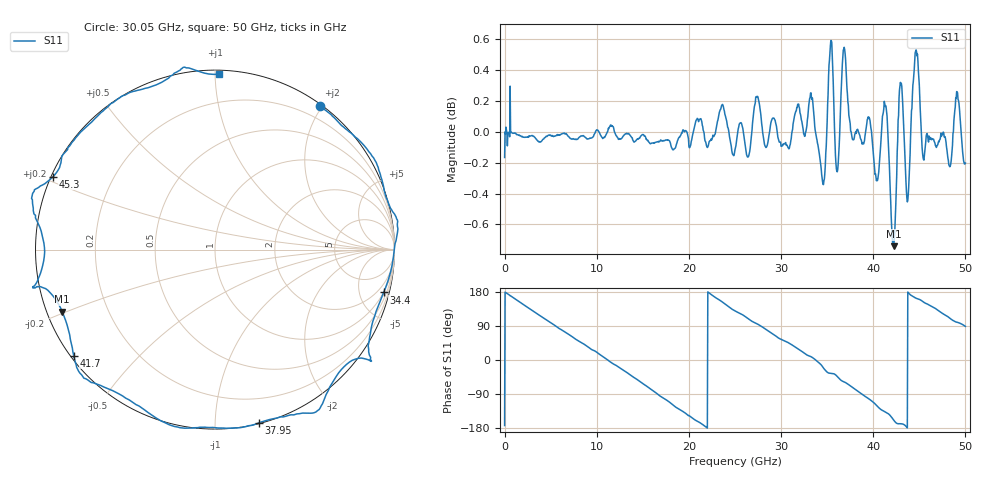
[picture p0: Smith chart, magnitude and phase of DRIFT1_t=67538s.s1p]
!Created with skrf (http://scikit-rf.org).
# Hz S RI R 50.0
!freq ReS11 ImS11
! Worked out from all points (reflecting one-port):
!   1001 points, 300 kHz to 50 GHz, reference 50 ohm
!   lowest |S11| = -0.7 dB at 42.2 GHz (marker M1), VSWR 23.45, Z = 2.21 - j9.74 ohm
!   phase of S11 starts at -173 deg and turns -818 deg over the sweep
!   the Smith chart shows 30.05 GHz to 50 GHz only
!   S11 on the Smith chart (normalised r, x): 30.05 GHz: 0.03, +1.97; 34.4 GHz: 1.00, -7.86; 37.95 GHz: 0.01, -1.28; 41.7 GHz: 0.01, -0.33; 45.3 GHz: 0.01, +0.22; 50 GHz: 0.02, +1.02
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300000  -0.9737 -0.1206
1.450291e9  -0.9124 0.4039
3.25028e9  -0.593 0.8004
6.250262e9  0.1993 0.9787
9.500243e9  0.8881 0.4503
1.250022e10  0.9308 -0.3518
1.580021e10  0.2418 -0.9613
1.74002e10  -0.2236 -0.9682
1.875019e10  -0.5991 -0.7923
2.160017e10  -0.9912 -0.1353
2.345016e10  -0.9299 0.4121
2.500015e10  -0.6285 0.7609
2.745014e10  -0.0837 1.024
3.005012e10  0.5842 0.7986
3.125011e10  0.782 0.6264
3.32001e10  1.016 0.1647
3.440009e10  0.9391 -0.2389
3.520009e10  0.8655 -0.5966
3.750008e10  0.3787 -0.9324
3.795007e10  0.2443 -0.9655
3.960006e10  -0.2389 -0.9814
4.170005e10  -0.7871 -0.5908
4.220005e10  -0.8508 -0.3452
4.290004e10  -1.013 -0.2137
4.375004e10  -0.9501 0.0112
4.530003e10  -0.9012 0.4063
4.765001e10  -0.5123 0.8579
5e10  0.0198 0.9768
